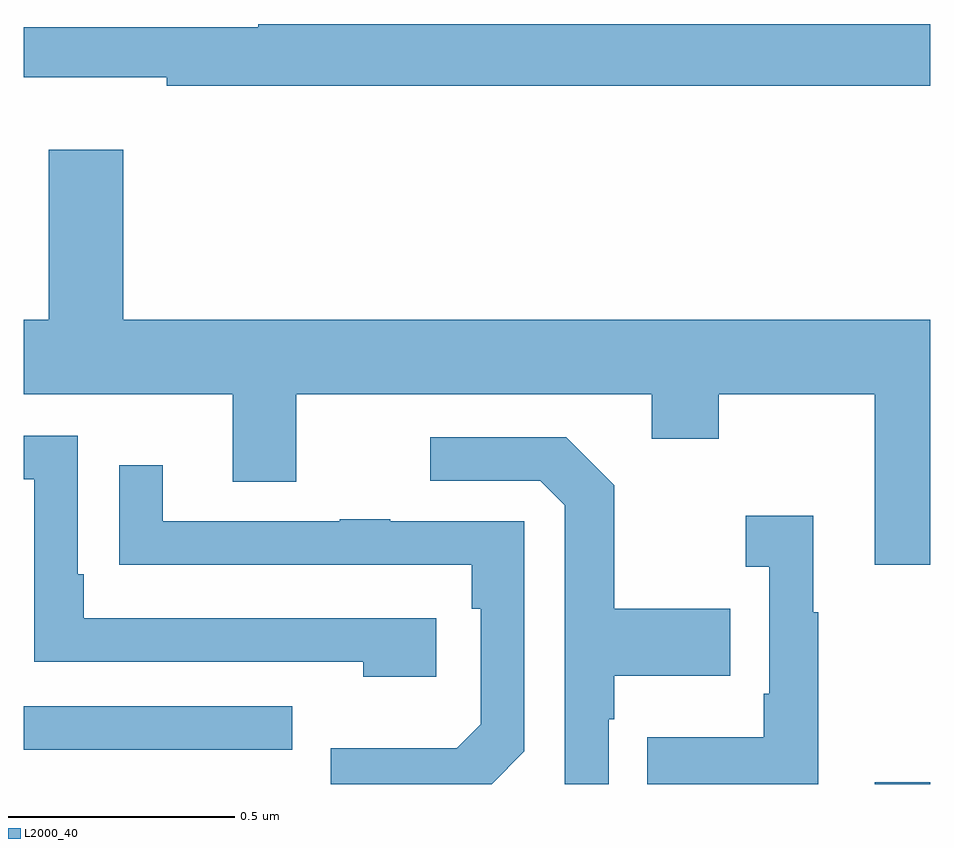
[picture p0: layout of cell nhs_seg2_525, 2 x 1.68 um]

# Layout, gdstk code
import gdstk
lib = gdstk.Library(unit=1e-6, precision=1e-09)
def R(c, l, rs):  # rectangles x0, y0, x1, y1
    for r in rs: c.add(gdstk.rectangle(r[:2], r[2:], *l))
def P(c, l, *ps):  # polygons
    for p in ps: c.add(gdstk.Polygon(p, *l))
L2000_40 = (2000, 40)

nhs_seg2_525 = lib.new_cell('nhs_seg2_525')
R(nhs_seg2_525, L2000_40, [(118.877,622.8,119,622.804), (117,622.875,117.593,622.971)])
P(nhs_seg2_525, L2000_40, [(119,624.476),(117.518,624.476),(117.518,624.469),(117,624.469),(117,624.359),(117.316,624.359),(117.316,624.34),(119,624.34)],
  [(119,623.824),(117.22,623.824),(117.22,624.199),(117.056,624.199),(117.056,623.824),(117,623.824),(117,623.66),(117.461,623.66),(117.461,623.466),(117.601,623.466),(117.601,623.66),(118.385,623.66),(118.385,623.561),(118.533,623.561),(118.533,623.66),(118.877,623.66),(118.877,623.283),(119,623.283)],
  [(117.91,623.166),(117.133,623.166),(117.133,623.263),(117.12,623.263),(117.12,623.568),(117,623.568),(117,623.472),(117.024,623.472),(117.024,623.07),(117.749,623.07),(117.749,623.036),(117.91,623.036)],
  [(118.29,622.943),(118.303,622.943),(118.303,623.039),(118.559,623.039),(118.559,623.187),(118.303,623.187),(118.303,623.459),(118.197,623.565),(117.897,623.565),(117.897,623.469),(118.14,623.469),(118.194,623.415),(118.194,622.8),(118.29,622.8)],
  [(118.104,622.872),(118.104,623.379),(117.809,623.379),(117.809,623.384),(117.697,623.384),(117.697,623.379),(117.307,623.379),(117.307,623.503),(117.211,623.503),(117.211,623.284),(117.313,623.284),(117.313,623.283),(117.988,623.283),(117.988,623.186),(118.008,623.186),(118.008,622.932),(117.955,622.879),(117.678,622.879),(117.678,622.8),(118.032,622.8)],
  [(118.753,623.179),(118.741,623.179),(118.741,623.392),(118.593,623.392),(118.593,623.279),(118.644,623.279),(118.644,622.999),(118.632,622.999),(118.632,622.903),(118.375,622.903),(118.375,622.8),(118.753,622.8)])

lib.write_gds('nhs_seg2_525.gds')
